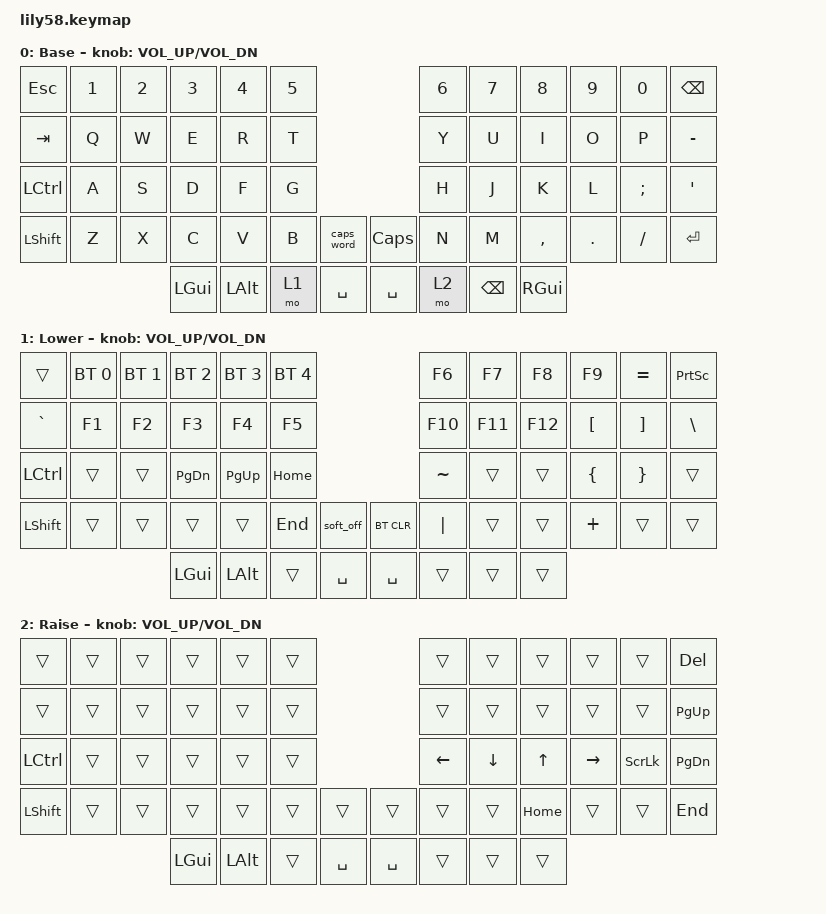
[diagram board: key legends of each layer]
/*
 * Copyright (c) 2020 The ZMK Contributors
 *
 * SPDX-License-Identifier: MIT
 */

#include <behaviors.dtsi>
#include <dt-bindings/zmk/bt.h>
#include <dt-bindings/zmk/keys.h>

/ {
    combos {
        compatible = "zmk,combos";

        RightShiftCombo {
            bindings = <&kp RIGHT_SHIFT>;
            key-positions = <31 32>;
        };

        RightControlCombo {
            bindings = <&kp RIGHT_CONTROL>;
            key-positions = <33 34>;
        };
    };

    keymap {
        compatible = "zmk,keymap";

        default_layer {
            // ------------------------------------------------------------------------------------------------------------
            // |  ESC  |  1  |  2  |  3   |  4   |  5   |                   |  6   |  7    |  8    |  9   |   0   |   `   |
            // |  TAB  |  Q  |  W  |  E   |  R   |  T   |                   |  Y   |  U    |  I    |  O   |   P   |   -   |
            // |  CTRL |  A  |  S  |  D   |  F   |  G   |                   |  H   |  J    |  K    |  L   |   ;   |   '   |
            // | SHIFT |  Z  |  X  |  C   |  V   |  B   |   "["  |  |  "]"  |  N   |  M    |  ,    |  .   |   /   | SHIFT |
            //                     | ALT  | GUI  | LOWER|  SPACE |  | ENTER | RAISE| BSPC  | GUI   |

            display-name = "Base";
            bindings = <
&kp ESC    &kp N1  &kp N2  &kp N3        &kp N4        &kp N5                           &kp N6  &kp N7    &kp N8     &kp N9   &kp N0    &kp BACKSPACE
&kp TAB    &kp Q   &kp W   &kp E         &kp R         &kp T                            &kp Y   &kp U     &kp I      &kp O    &kp P     &kp MINUS
&kp LCTRL  &kp A   &kp S   &kp D         &kp F         &kp G                            &kp H   &kp J     &kp K      &kp L    &kp SEMI  &kp SQT
&kp LSHFT  &kp Z   &kp X   &kp C         &kp V         &kp B   &caps_word    &kp CAPS   &kp N   &kp M     &kp COMMA  &kp DOT  &kp FSLH  &kp ENTER
                           &kp LEFT_GUI  &kp LEFT_ALT  &mo 1   &kp SPACE     &kp SPACE  &mo 2   &kp BSPC  &kp RGUI
            >;

            sensor-bindings = <&inc_dec_kp C_VOL_UP C_VOL_DN>;
        };

        lower_layer {
            // ------------------------------------------------------------------------------------------------------------
            // | BTCLR | BT1 | BT2 |  BT3 |  BT4 |  BT5 |                   |      |       |       |      |       |       |
            // |  F1   |  F2 |  F3 |  F4  |  F5  |  F6  |                   |  F7  |  F8   |  F9   |  F10 |  F11  |  F12  |
            // |   `   |  !  |  @  |  #   |  $   |  %   |                   |  ^   |  &    |  *    |  (   |   )   |   ~   |
            // |       |     |     |      |      |      |        |  |       |      |  _    |  +    |  {   |   }   |  "|"  |
            //                     |      |      |      |        |  |       |      |       |       |

            display-name = "Lower";
            bindings = <
&trans            &bt BT_SEL 0  &bt BT_SEL 1  &bt BT_SEL 2   &bt BT_SEL 3  &bt BT_SEL 4                           &kp F6     &kp F7   &kp F8   &kp F9            &kp EQUAL          &kp PRINTSCREEN
&kp GRAVE         &kp F1        &kp F2        &kp F3         &kp F4        &kp F5                                 &kp F10    &kp F11  &kp F12  &kp LEFT_BRACKET  &kp RIGHT_BRACKET  &kp BACKSLASH
&kp LEFT_CONTROL  &trans        &trans        &kp PAGE_DOWN  &kp PAGE_UP   &kp HOME                               &kp TILDE  &trans   &trans   &kp LEFT_BRACE    &kp RIGHT_BRACE    &trans
&kp LEFT_SHIFT    &trans        &trans        &trans         &trans        &kp END       &soft_off    &bt BT_CLR  &kp PIPE   &trans   &trans   &kp PLUS          &trans             &trans
                                              &kp LGUI       &kp LALT      &trans        &kp SPACE    &kp SPACE   &trans     &trans   &trans
            >;

            sensor-bindings = <&inc_dec_kp C_VOL_UP C_VOL_DN>;
        };

        raise_layer {
            // ------------------------------------------------------------------------------------------------------------
            // |       |     |     |      |      |      |                   |      |       |       |      |       |       |
            // |   `   |  1  |  2  |  3   |  4   |  5   |                   |  6   |   7   |   8   |  9   |   0   |       |
            // |   F1  |  F2 |  F3 |  F4  |  F5  |  F6  |                   |      |   <-  |   v   |  ^   |  ->   |       |
            // |   F7  |  F8 |  F9 |  F10 |  F11 |  F12 |        |  |       |  +   |   -   |   =   |  [   |   ]   |   \   |
            //                     |      |      |      |        |  |       |      |       |       |

            display-name = "Raise";
            bindings = <
&trans            &trans  &trans  &trans        &trans        &trans                          &trans    &trans          &trans        &trans           &trans          &kp DEL
&trans            &trans  &trans  &trans        &trans        &trans                          &trans    &trans          &trans        &trans           &trans          &kp PAGE_UP
&kp LEFT_CONTROL  &trans  &trans  &trans        &trans        &trans                          &kp LEFT  &kp DOWN_ARROW  &kp UP_ARROW  &kp RIGHT_ARROW  &kp SCROLLLOCK  &kp PAGE_DOWN
&kp LEFT_SHIFT    &trans  &trans  &trans        &trans        &trans  &trans       &trans     &trans    &trans          &kp HOME      &trans           &trans          &kp END
                                  &kp LEFT_GUI  &kp LEFT_ALT  &trans  &kp SPACE    &kp SPACE  &trans    &trans          &trans
            >;

            sensor-bindings = <&inc_dec_kp C_VOL_UP C_VOL_DN>;
        };

        extra_1 { status = "reserved"; };

        extra_2 { status = "reserved"; };

        extra_3 { status = "reserved"; };
    };
};
